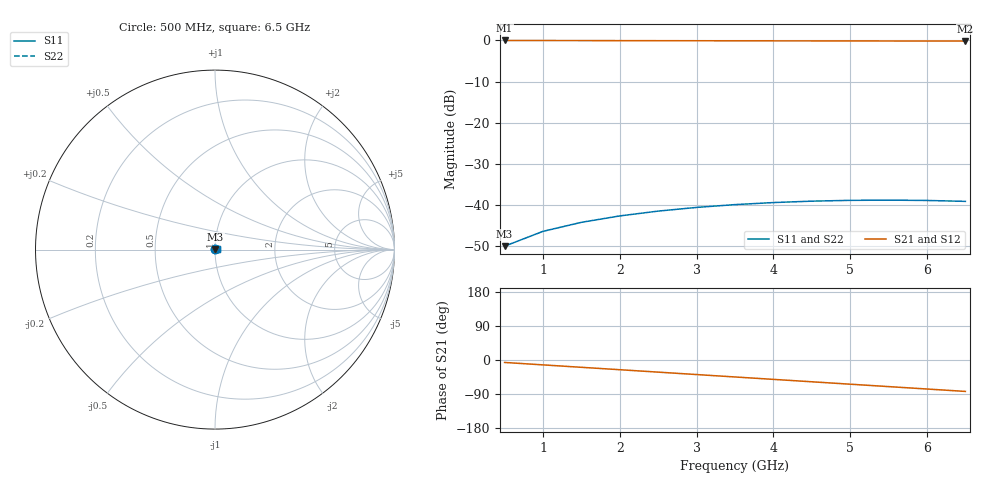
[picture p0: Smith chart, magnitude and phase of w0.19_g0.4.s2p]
! Sonnet Data File
! From: em Version : 19.54.2026
! From Project: w0.19_g0.4
! Data is De-embedded
! Data File Written: 11/09/2026 23:35:48
!< HDATE 11/09/2026 23:35:03
!< MDATE 11/09/2026 23:35:03
# GHZ S RI R 50.00000
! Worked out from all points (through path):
!   13 points, 500 MHz to 6.5 GHz, reference 50 ohm
!   highest |S21| = -0.03 dB at 500 MHz (marker M1); lowest = -0.2 dB at 6.5 GHz (marker M2)
!   group delay of S21, straight-line fit = 35.4 ps
!   lowest |S11| = -49.9 dB at 500 MHz (marker M3), VSWR 1.01, Z = 50.1 + j0.287 ohm
!   |S11| at or under -10 dB: start of sweep to end of sweep
!   |S22| runs from -49.9 to -38.8 dB; largest |S21 - S12| = 1e-12
0.5  0.00139 0.00287  0.9906 -0.1124  0.9906 -0.1124  0.00139 0.00287
1  0.00199 0.00439  0.9701 -0.2217  0.9701 -0.2217  0.00199 0.00439
1.5  0.00266 0.0056  0.9378 -0.3278  0.9378 -0.3278  0.00266 0.0056
2  0.00344 0.00657  0.8942 -0.4293  0.8942 -0.4293  0.00344 0.00657
2.5  0.00433 0.0073  0.8397 -0.5252  0.8397 -0.5252  0.00433 0.0073
3  0.00529 0.00778  0.7751 -0.6143  0.7751 -0.6143  0.00529 0.00778
3.5  0.00628 0.008  0.7012 -0.6955  0.7012 -0.6955  0.00628 0.008
4  0.00724 0.00797  0.6189 -0.7679  0.6189 -0.7679  0.00724 0.00797
4.5  0.00813 0.00771  0.5293 -0.8306  0.5293 -0.8306  0.00813 0.00771
5  0.00889 0.00722  0.4334 -0.8829  0.4334 -0.8829  0.00889 0.00722
5.5  0.00948 0.00657  0.3326 -0.9243  0.3326 -0.9243  0.00948 0.00657
6  0.00985 0.00577  0.228 -0.9541  0.228 -0.9541  0.00985 0.00577
6.5  0.01 0.0049  0.1209 -0.9723  0.1209 -0.9723  0.01 0.0049
